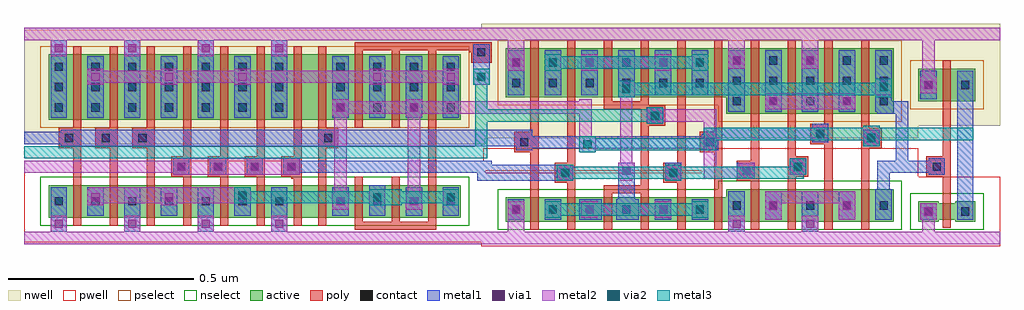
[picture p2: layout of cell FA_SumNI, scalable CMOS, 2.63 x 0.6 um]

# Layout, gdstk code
import gdstk
lib = gdstk.Library(unit=1e-6, precision=1e-11)
def R(c, l, rs):  # rectangles x0, y0, x1, y1
    for r in rs: c.add(gdstk.rectangle(r[:2], r[2:], *l))
def A(c, l, x, y, w, h, nx, ny, dx, dy):  # array of equal rectangles
    R(c, l, [(x+i*dx, y+j*dy, x+i*dx+w, y+j*dy+h) for i in range(nx) for j in range(ny)])
contact = (25, 0)
pwell = (41, 0)
nwell = (42, 0)
active = (43, 0)
pselect = (44, 0)
nselect = (45, 0)
poly = (46, 0)
metal1 = (49, 0)
via1 = (50, 0)
metal2 = (51, 0)
via2 = (61, 0)
metal3 = (62, 0)

fa_sumni = lib.new_cell('FA_SumNI')
A(fa_sumni, contact, 0.011, -0.242, 0.022, 0.022, 6, 2, 0.099, 0.341)
A(fa_sumni, contact, 0.605, -0.231, 0.022, 0.022, 5, 2, 0.099, 0.2805)
A(fa_sumni, contact, -1.221, -0.22, 0.022, 0.022, 7, 2, 0.099, 0.253)
A(fa_sumni, contact, -0.462, -0.22, 0.022, 0.022, 4, 2, 0.099, 0.253)
A(fa_sumni, contact, -0.891, -0.1265, 0.022, 0.022, 4, 1, 0.099, 0)
A(fa_sumni, contact, -1.1935, -0.0495, 0.022, 0.022, 3, 1, 0.099, 0)
A(fa_sumni, contact, -1.221, 0.088, 0.022, 0.022, 7, 2, 0.099, 0.055)
A(fa_sumni, contact, -0.462, 0.088, 0.022, 0.022, 4, 2, 0.099, 0.055)
A(fa_sumni, contact, 0.605, 0.1045, 0.022, 0.022, 5, 2, 0.099, 0.055)
A(fa_sumni, contact, 0.011, 0.154, 0.022, 0.022, 6, 1, 0.099, 0)
R(fa_sumni, contact, [(1.122,-0.2475,1.144,-0.2255), (1.221,-0.2475,1.243,-0.2255), (0.143,-0.143,0.165,-0.121), (0.4345,-0.143,0.4565,-0.121), (0.6325,-0.1375,0.6545,-0.1155), (0.77,-0.1265,0.792,-0.1045), (1.144,-0.1265,1.166,-0.1045), (0.033,-0.0605,0.055,-0.0385), (0.5335,-0.0605,0.5555,-0.0385), (-0.495,-0.0495,-0.473,-0.0275), (0.968,-0.0495,0.99,-0.0275), (0.8305,-0.0385,0.8525,-0.0165), (0.385,0.011,0.407,0.033), (1.122,0.0935,1.144,0.1155), (1.221,0.0935,1.243,0.1155), (-0.0825,0.1815,-0.0605,0.2035)])
A(fa_sumni, pwell, -0.0715, -0.33, 0.187, 0.198, 6, 1, 0.099, 0)
A(fa_sumni, pwell, -0.0385, -0.33, 0.22, 0.198, 6, 1, 0.099, 0)
A(fa_sumni, pwell, 0.5225, -0.33, 0.187, 0.22, 5, 1, 0.099, 0)
A(fa_sumni, pwell, 0.5555, -0.33, 0.22, 0.22, 4, 1, 0.099, 0)
A(fa_sumni, pwell, -1.3035, -0.319, 0.187, 0.22, 7, 1, 0.099, 0)
A(fa_sumni, pwell, -1.2705, -0.319, 0.22, 0.22, 7, 1, 0.099, 0)
A(fa_sumni, pwell, -0.6105, -0.319, 0.22, 0.22, 4, 1, 0.099, 0)
A(fa_sumni, pwell, -0.5445, -0.319, 0.187, 0.22, 4, 1, 0.099, 0)
R(fa_sumni, pwell, [(1.0395,-0.33,1.2265,-0.143), (1.1385,-0.33,1.3255,-0.143), (1.0725,-0.3245,1.2925,-0.1485), (1.1275,-0.3245,1.1412,-0.1485), (1.2237,-0.3245,1.232,-0.1485), (0.022,-0.3135,0.0302,-0.1485), (0.0302,-0.3135,0.2035,-0.1485), (0.1127,-0.3135,0.121,-0.1485), (0.121,-0.3135,0.1292,-0.1485), (0.2117,-0.3135,0.22,-0.1485), (0.22,-0.3135,0.2282,-0.1485), (0.3107,-0.3135,0.319,-0.1485), (0.319,-0.3135,0.3272,-0.1485), (0.4097,-0.3135,0.418,-0.1485), (0.418,-0.3135,0.4262,-0.1485), (0.5087,-0.3135,0.517,-0.1485), (0.517,-0.3135,0.5252,-0.1485), (0.6077,-0.3025,0.616,-0.1375), (0.616,-0.3025,0.6242,-0.1375), (0.7067,-0.3025,0.715,-0.1375), (0.715,-0.3025,0.7232,-0.1375), (0.8057,-0.3025,0.814,-0.1375), (0.814,-0.3025,0.8222,-0.1375), (0.9047,-0.3025,0.913,-0.1375), (0.913,-0.3025,0.9212,-0.1375), (1.0037,-0.3025,1.012,-0.1375), (-1.2925,-0.2805,-1.1192,-0.1155), (-1.1192,-0.2805,-1.111,-0.1155), (-1.111,-0.2805,-1.1027,-0.1155), (-1.0202,-0.2805,-1.012,-0.1155), (-1.012,-0.2805,-1.0037,-0.1155), (-0.9212,-0.2805,-0.913,-0.1155), (-0.913,-0.2805,-0.9047,-0.1155), (-0.8222,-0.2805,-0.814,-0.1155), (-0.814,-0.2805,-0.8057,-0.1155), (-0.7232,-0.2805,-0.715,-0.1155), (-0.715,-0.2805,-0.7067,-0.1155), (-0.6242,-0.2805,-0.616,-0.1155), (-0.616,-0.2805,-0.6077,-0.1155), (-0.5417,-0.2805,-0.5252,-0.1155), (-0.4592,-0.2805,-0.451,-0.1155), (-0.451,-0.2805,-0.4427,-0.1155), (-0.3602,-0.2805,-0.352,-0.1155), (-0.352,-0.2805,-0.3437,-0.1155), (-0.2612,-0.2805,-0.253,-0.1155), (-0.253,-0.2805,-0.2447,-0.1155), (-0.1622,-0.2805,-0.154,-0.1155), (-0.066,-0.1265,1.1055,-0.0935), (-0.066,-0.099,1.1055,-0.066)])
A(fa_sumni, nwell, -1.3035, -0.055, 0.187, 0.308, 7, 1, 0.099, 0)
A(fa_sumni, nwell, -1.2705, -0.055, 0.22, 0.308, 7, 1, 0.099, 0)
A(fa_sumni, nwell, -0.6105, -0.055, 0.22, 0.308, 4, 1, 0.099, 0)
A(fa_sumni, nwell, -0.5445, -0.055, 0.187, 0.308, 4, 1, 0.099, 0)
A(fa_sumni, nwell, 0.5225, -0.0385, 0.187, 0.308, 5, 1, 0.099, 0)
A(fa_sumni, nwell, 0.5555, -0.0385, 0.22, 0.308, 4, 1, 0.099, 0)
A(fa_sumni, nwell, -0.0715, 0.0055, 0.187, 0.264, 6, 1, 0.099, 0)
A(fa_sumni, nwell, -0.0385, 0.0055, 0.22, 0.264, 6, 1, 0.099, 0)
R(fa_sumni, nwell, [(-0.077,-0.0385,0.5225,-0.0165), (0.616,-0.0385,0.6242,0.2695), (0.715,-0.0385,0.7232,0.2695), (0.8057,-0.0385,0.814,0.2695), (0.814,-0.0385,0.8222,0.2695), (0.9047,-0.0385,0.913,0.2695), (0.913,-0.0385,0.9212,0.2695), (1.0037,-0.0385,1.012,0.2695), (-0.0715,-0.0165,0.528,0.0055), (1.0395,-0.0055,1.2265,0.2145), (1.0725,-0.0055,1.2925,0.2145), (1.133,-0.0055,1.1412,0.2145), (1.1385,-0.0055,1.3255,0.2145), (1.2237,-0.0055,1.232,0.2145), (-0.5417,0,-0.5252,0.165), (0.6077,0.0055,0.616,0.2695), (-1.2925,0.0165,-1.1192,0.1815), (-1.2017,0.0165,-1.0285,0.1815), (-1.1935,0.0165,-1.0202,0.1815), (-1.1027,0.0165,-0.9295,0.1815), (-1.0945,0.0165,-0.9212,0.1815), (-1.0037,0.0165,-0.8305,0.1815), (-0.9955,0.0165,-0.8222,0.1815), (-0.9047,0.0165,-0.7315,0.1815), (-0.8965,0.0165,-0.7232,0.1815), (-0.8057,0.0165,-0.6325,0.1815), (-0.7975,0.0165,-0.6242,0.1815), (-0.7067,0.0165,-0.5335,0.1815), (-0.6985,0.0165,-0.5252,0.1815), (-0.4592,0.0165,-0.451,0.1815), (-0.451,0.0165,-0.4427,0.1815), (-0.3602,0.0165,-0.352,0.1815), (-0.352,0.0165,-0.3437,0.1815), (-0.2612,0.0165,-0.253,0.1815), (-0.253,0.0165,-0.2447,0.1815), (-0.1622,0.0165,-0.154,0.1815), (0.7067,0.033,0.715,0.198), (0.022,0.055,0.0302,0.22), (0.1127,0.055,0.121,0.22), (0.121,0.055,0.1292,0.22), (0.22,0.055,0.2282,0.22), (0.3107,0.055,0.319,0.22), (0.319,0.055,0.3272,0.22), (0.4097,0.055,0.418,0.22), (0.418,0.055,0.4262,0.22), (0.5087,0.055,0.517,0.22), (0.517,0.055,0.5252,0.22), (0.2117,0.0605,0.22,0.2255), (1.0615,0.2035,1.3255,0.2695)])
A(fa_sumni, active, -0.0055, -0.264, 0.055, 0.066, 6, 1, 0.099, 0)
A(fa_sumni, active, 0.0275, -0.264, 0.088, 0.066, 6, 1, 0.099, 0)
A(fa_sumni, active, 0.5885, -0.264, 0.055, 0.088, 5, 1, 0.099, 0)
A(fa_sumni, active, 0.6215, -0.264, 0.088, 0.088, 4, 1, 0.099, 0)
A(fa_sumni, active, -1.2375, -0.253, 0.055, 0.088, 7, 1, 0.099, 0)
A(fa_sumni, active, -1.2045, -0.253, 0.088, 0.088, 7, 1, 0.099, 0)
A(fa_sumni, active, -0.5445, -0.253, 0.088, 0.088, 4, 1, 0.099, 0)
A(fa_sumni, active, -0.4785, -0.253, 0.055, 0.088, 4, 1, 0.099, 0)
A(fa_sumni, active, -1.2375, 0.011, 0.055, 0.176, 7, 1, 0.099, 0)
A(fa_sumni, active, -1.2045, 0.011, 0.088, 0.176, 7, 1, 0.099, 0)
A(fa_sumni, active, -0.5445, 0.011, 0.088, 0.176, 4, 1, 0.099, 0)
A(fa_sumni, active, -0.4785, 0.011, 0.055, 0.176, 4, 1, 0.099, 0)
A(fa_sumni, active, 0.5885, 0.0275, 0.055, 0.176, 5, 1, 0.099, 0)
A(fa_sumni, active, 0.6215, 0.0275, 0.088, 0.176, 4, 1, 0.099, 0)
A(fa_sumni, active, -0.0055, 0.0715, 0.055, 0.132, 6, 1, 0.099, 0)
A(fa_sumni, active, 0.0275, 0.0715, 0.088, 0.132, 6, 1, 0.099, 0)
R(fa_sumni, active, [(1.1055,-0.264,1.1605,-0.209), (1.2045,-0.264,1.2595,-0.209), (1.1275,-0.2585,1.1412,-0.2145), (1.1385,-0.2585,1.2265,-0.2145), (1.2237,-0.2585,1.232,-0.2145), (0.022,-0.2475,0.0302,-0.2145), (0.0962,-0.2475,0.1375,-0.2145), (0.1127,-0.2475,0.121,-0.2145), (0.121,-0.2475,0.1292,-0.2145), (0.2117,-0.2475,0.22,-0.2145), (0.22,-0.2475,0.2282,-0.2145), (0.3107,-0.2475,0.319,-0.2145), (0.319,-0.2475,0.3272,-0.2145), (0.4097,-0.2475,0.418,-0.2145), (0.418,-0.2475,0.4262,-0.2145), (0.5087,-0.2475,0.517,-0.2145), (0.517,-0.2475,0.5252,-0.2145), (0.6077,-0.2365,0.616,-0.2035), (0.616,-0.2365,0.6242,-0.2035), (0.7067,-0.2365,0.715,-0.2035), (0.715,-0.2365,0.7232,-0.2035), (0.8057,-0.2365,0.814,-0.2035), (0.814,-0.2365,0.8222,-0.2035), (0.9047,-0.2365,0.913,-0.2035), (0.913,-0.2365,0.9212,-0.2035), (1.0037,-0.2365,1.012,-0.2035), (-1.2265,-0.2145,-1.1852,-0.1815), (-1.1192,-0.2145,-1.111,-0.1815), (-1.111,-0.2145,-1.1027,-0.1815), (-1.0202,-0.2145,-1.012,-0.1815), (-1.012,-0.2145,-1.0037,-0.1815), (-0.9212,-0.2145,-0.913,-0.1815), (-0.913,-0.2145,-0.9047,-0.1815), (-0.8222,-0.2145,-0.814,-0.1815), (-0.814,-0.2145,-0.8057,-0.1815), (-0.7232,-0.2145,-0.715,-0.1815), (-0.715,-0.2145,-0.7067,-0.1815), (-0.6242,-0.2145,-0.616,-0.1815), (-0.616,-0.2145,-0.6077,-0.1815), (-0.5417,-0.2145,-0.5252,-0.1815), (-0.4592,-0.2145,-0.451,-0.1815), (-0.451,-0.2145,-0.4427,-0.1815), (-0.3602,-0.2145,-0.352,-0.1815), (-0.352,-0.2145,-0.3437,-0.1815), (-0.2612,-0.2145,-0.253,-0.1815), (-0.253,-0.2145,-0.2447,-0.1815), (-0.1622,-0.2145,-0.154,-0.1815), (0.616,0.0275,0.6242,0.2035), (0.715,0.0275,0.7232,0.2035), (0.8057,0.0275,0.814,0.2035), (0.814,0.0275,0.8222,0.2035), (0.9047,0.0275,0.913,0.2035), (0.913,0.0275,0.9212,0.2035), (1.0037,0.0275,1.012,0.2035), (1.1055,0.0605,1.1605,0.1485), (1.133,0.0605,1.1412,0.1485), (1.1385,0.0605,1.2265,0.1485), (1.2045,0.0605,1.2595,0.1485), (1.2237,0.0605,1.232,0.1485), (-0.5417,0.066,-0.5252,0.099), (0.6077,0.0715,0.616,0.2035), (-1.2265,0.0825,-1.1852,0.1155), (-1.1357,0.0825,-1.0945,0.1155), (-1.1275,0.0825,-1.0862,0.1155), (-1.0367,0.0825,-0.9955,0.1155), (-1.0285,0.0825,-0.9872,0.1155), (-0.9377,0.0825,-0.8965,0.1155), (-0.9295,0.0825,-0.8882,0.1155), (-0.8387,0.0825,-0.7975,0.1155), (-0.8305,0.0825,-0.7892,0.1155), (-0.7397,0.0825,-0.6985,0.1155), (-0.7315,0.0825,-0.6902,0.1155), (-0.6407,0.0825,-0.5995,0.1155), (-0.6325,0.0825,-0.5912,0.1155), (-0.4592,0.0825,-0.451,0.1155), (-0.451,0.0825,-0.4427,0.1155), (-0.3602,0.0825,-0.352,0.1155), (-0.352,0.0825,-0.3437,0.1155), (-0.2612,0.0825,-0.253,0.1155), (-0.253,0.0825,-0.2447,0.1155), (-0.1622,0.0825,-0.154,0.1155), (0.7067,0.099,0.715,0.132), (0.022,0.121,0.0302,0.154), (0.1127,0.121,0.121,0.154), (0.121,0.121,0.1292,0.154), (0.22,0.121,0.2282,0.154), (0.3107,0.121,0.319,0.154), (0.319,0.121,0.3272,0.154), (0.4097,0.121,0.418,0.154), (0.418,0.121,0.4262,0.154), (0.5087,0.121,0.517,0.154), (0.517,0.121,0.5252,0.154), (0.2117,0.1265,0.22,0.1595)])
A(fa_sumni, pselect, -1.2595, -0.011, 0.099, 0.22, 7, 1, 0.099, 0)
A(fa_sumni, pselect, -1.2265, -0.011, 0.132, 0.22, 7, 1, 0.099, 0)
A(fa_sumni, pselect, -0.5665, -0.011, 0.132, 0.22, 4, 1, 0.099, 0)
A(fa_sumni, pselect, -0.5005, -0.011, 0.099, 0.22, 4, 1, 0.099, 0)
A(fa_sumni, pselect, 0.5665, 0.0055, 0.099, 0.22, 5, 1, 0.099, 0)
A(fa_sumni, pselect, 0.5995, 0.0055, 0.132, 0.22, 4, 1, 0.099, 0)
A(fa_sumni, pselect, -0.0275, 0.0495, 0.099, 0.176, 6, 1, 0.099, 0)
A(fa_sumni, pselect, 0.0055, 0.0495, 0.132, 0.176, 6, 1, 0.099, 0)
R(fa_sumni, pselect, [(0.616,0.0055,0.6242,0.2255), (0.715,0.0055,0.7232,0.2255), (0.8057,0.0055,0.814,0.2255), (0.814,0.0055,0.8222,0.2255), (0.9047,0.0055,0.913,0.2255), (0.913,0.0055,0.9212,0.2255), (1.0037,0.0055,1.012,0.2255), (1.0835,0.0385,1.1825,0.1705), (1.1165,0.0385,1.2485,0.1705), (1.133,0.0385,1.1412,0.1705), (1.1825,0.0385,1.2815,0.1705), (1.2237,0.0385,1.232,0.1705), (-0.5417,0.044,-0.5252,0.121), (0.6077,0.0495,0.616,0.2255), (-1.2485,0.0605,-1.1632,0.1375), (-1.1577,0.0605,-1.0725,0.1375), (-1.1495,0.0605,-1.0642,0.1375), (-1.0587,0.0605,-0.9735,0.1375), (-1.0505,0.0605,-0.9652,0.1375), (-0.9597,0.0605,-0.8745,0.1375), (-0.9515,0.0605,-0.8662,0.1375), (-0.8607,0.0605,-0.7755,0.1375), (-0.8525,0.0605,-0.7672,0.1375), (-0.7617,0.0605,-0.6765,0.1375), (-0.7535,0.0605,-0.6682,0.1375), (-0.6627,0.0605,-0.5775,0.1375), (-0.6545,0.0605,-0.5692,0.1375), (-0.4592,0.0605,-0.451,0.1375), (-0.451,0.0605,-0.4427,0.1375), (-0.3602,0.0605,-0.352,0.1375), (-0.352,0.0605,-0.3437,0.1375), (-0.2612,0.0605,-0.253,0.1375), (-0.253,0.0605,-0.2447,0.1375), (-0.1622,0.0605,-0.154,0.1375), (0.7067,0.077,0.715,0.154), (0.022,0.099,0.0302,0.176), (0.1127,0.099,0.121,0.176), (0.121,0.099,0.1292,0.176), (0.22,0.099,0.2282,0.176), (0.3107,0.099,0.319,0.176), (0.319,0.099,0.3272,0.176), (0.4097,0.099,0.418,0.176), (0.418,0.099,0.4262,0.176), (0.5087,0.099,0.517,0.176), (0.517,0.099,0.5252,0.176), (0.2117,0.1045,0.22,0.1815)])
A(fa_sumni, nselect, -0.0275, -0.286, 0.099, 0.11, 6, 1, 0.099, 0)
A(fa_sumni, nselect, 0.0055, -0.286, 0.132, 0.11, 6, 1, 0.099, 0)
A(fa_sumni, nselect, 0.5665, -0.286, 0.099, 0.132, 5, 1, 0.099, 0)
A(fa_sumni, nselect, 0.5995, -0.286, 0.132, 0.132, 4, 1, 0.099, 0)
A(fa_sumni, nselect, -1.2595, -0.275, 0.099, 0.132, 7, 1, 0.099, 0)
A(fa_sumni, nselect, -1.2265, -0.275, 0.132, 0.132, 7, 1, 0.099, 0)
A(fa_sumni, nselect, -0.5665, -0.275, 0.132, 0.132, 4, 1, 0.099, 0)
A(fa_sumni, nselect, -0.5005, -0.275, 0.099, 0.132, 4, 1, 0.099, 0)
R(fa_sumni, nselect, [(1.0835,-0.286,1.1825,-0.187), (1.1825,-0.286,1.2815,-0.187), (1.1165,-0.2805,1.2485,-0.1925), (1.1275,-0.2805,1.1412,-0.1925), (1.2237,-0.2805,1.232,-0.1925), (0.022,-0.2695,0.0302,-0.1925), (0.0742,-0.2695,0.1595,-0.1925), (0.1127,-0.2695,0.121,-0.1925), (0.121,-0.2695,0.1292,-0.1925), (0.2117,-0.2695,0.22,-0.1925), (0.22,-0.2695,0.2282,-0.1925), (0.3107,-0.2695,0.319,-0.1925), (0.319,-0.2695,0.3272,-0.1925), (0.4097,-0.2695,0.418,-0.1925), (0.418,-0.2695,0.4262,-0.1925), (0.5087,-0.2695,0.517,-0.1925), (0.517,-0.2695,0.5252,-0.1925), (0.6077,-0.2585,0.616,-0.1815), (0.616,-0.2585,0.6242,-0.1815), (0.7067,-0.2585,0.715,-0.1815), (0.715,-0.2585,0.7232,-0.1815), (0.8057,-0.2585,0.814,-0.1815), (0.814,-0.2585,0.8222,-0.1815), (0.9047,-0.2585,0.913,-0.1815), (0.913,-0.2585,0.9212,-0.1815), (1.0037,-0.2585,1.012,-0.1815), (-1.2485,-0.2365,-1.1632,-0.1595), (-1.1192,-0.2365,-1.111,-0.1595), (-1.111,-0.2365,-1.1027,-0.1595), (-1.0202,-0.2365,-1.012,-0.1595), (-1.012,-0.2365,-1.0037,-0.1595), (-0.9212,-0.2365,-0.913,-0.1595), (-0.913,-0.2365,-0.9047,-0.1595), (-0.8222,-0.2365,-0.814,-0.1595), (-0.814,-0.2365,-0.8057,-0.1595), (-0.7232,-0.2365,-0.715,-0.1595), (-0.715,-0.2365,-0.7067,-0.1595), (-0.6242,-0.2365,-0.616,-0.1595), (-0.616,-0.2365,-0.6077,-0.1595), (-0.5417,-0.2365,-0.5252,-0.1595), (-0.4592,-0.2365,-0.451,-0.1595), (-0.451,-0.2365,-0.4427,-0.1595), (-0.3602,-0.2365,-0.352,-0.1595), (-0.352,-0.2365,-0.3437,-0.1595), (-0.2612,-0.2365,-0.253,-0.1595), (-0.253,-0.2365,-0.2447,-0.1595), (-0.1622,-0.2365,-0.154,-0.1595)])
A(fa_sumni, poly, 0.0605, -0.286, 0.022, 0.11, 6, 1, 0.099, 0)
A(fa_sumni, poly, 0.6545, -0.286, 0.022, 0.132, 4, 1, 0.099, 0)
A(fa_sumni, poly, -1.1715, -0.275, 0.022, 0.132, 7, 1, 0.099, 0)
A(fa_sumni, poly, -0.5115, -0.275, 0.022, 0.132, 4, 1, 0.099, 0)
A(fa_sumni, poly, -0.8745, -0.154, 0.022, 0.0495, 3, 1, 0.099, 0)
A(fa_sumni, poly, -0.9075, -0.143, 0.055, 0.055, 4, 1, 0.099, 0)
A(fa_sumni, poly, -0.88, -0.143, 0.0165, 0.055, 3, 1, 0.099, 0)
A(fa_sumni, poly, -0.8745, -0.1265, 0.022, 0.1265, 3, 1, 0.099, 0)
A(fa_sumni, poly, -1.21, -0.066, 0.055, 0.055, 3, 1, 0.099, 0)
A(fa_sumni, poly, -1.1825, -0.066, 0.022, 0.055, 3, 1, 0.099, 0)
A(fa_sumni, poly, -1.1715, -0.0495, 0.022, 0.0495, 3, 1, 0.099, 0)
A(fa_sumni, poly, -1.1715, -0.011, 0.022, 0.22, 7, 1, 0.099, 0)
A(fa_sumni, poly, -0.5115, -0.011, 0.022, 0.22, 4, 1, 0.099, 0)
A(fa_sumni, poly, 0.6545, 0.0055, 0.022, 0.22, 4, 1, 0.099, 0)
A(fa_sumni, poly, 0.0605, 0.0495, 0.022, 0.176, 6, 1, 0.099, 0)
R(fa_sumni, poly, [(-0.4125,-0.286,-0.2915,-0.264), (-0.3135,-0.286,-0.1925,-0.264), (1.1715,-0.2805,1.1935,-0.1925), (1.1715,-0.2035,1.1935,-0.1815), (1.1715,-0.2035,1.1935,-0.1045), (0.0605,-0.187,0.0825,-0.0385), (0.1595,-0.187,0.1815,-0.121), (0.2585,-0.187,0.3795,-0.165), (0.3575,-0.187,0.3795,0.033), (0.4565,-0.187,0.4785,-0.121), (0.5555,-0.187,0.5775,-0.0385), (0.6545,-0.165,0.6765,-0.1155), (0.7535,-0.165,0.7755,-0.1045), (0.8525,-0.165,0.8745,-0.0165), (0.9515,-0.165,0.9735,-0.0275), (0.1265,-0.1595,0.1815,-0.1045), (0.1485,-0.1595,0.1705,-0.1045), (0.418,-0.1595,0.473,-0.1045), (0.4455,-0.1595,0.4675,-0.1045), (-1.1715,-0.154,-1.1495,-0.0275), (-1.0725,-0.154,-1.0505,0), (-0.9735,-0.154,-0.9515,-0.0275), (-0.5775,-0.154,-0.5555,-0.11), (-0.5115,-0.154,-0.4895,-0.0275), (-0.2145,-0.154,-0.1925,0), (0.616,-0.154,0.671,-0.099), (0.6435,-0.154,0.6655,-0.099), (-0.583,-0.1485,-0.5665,-0.0935), (0.1595,-0.143,0.1815,0.0605), (0.4565,-0.143,0.4785,0.0605), (0.7535,-0.143,0.8085,-0.088), (0.7645,-0.143,0.781,-0.088), (1.1275,-0.143,1.1825,-0.088), (0.6545,-0.1375,0.6765,0.0165), (-0.5775,-0.132,-0.5555,0), (0.7535,-0.1265,0.7755,0.0165), (1.144,-0.1265,1.1935,-0.1045), (1.1715,-0.1265,1.1935,0.0495), (0.0165,-0.077,0.0715,-0.022), (0.0385,-0.077,0.0715,-0.022), (0.517,-0.077,0.572,-0.022), (0.5445,-0.077,0.5665,-0.022), (-0.5115,-0.066,-0.4565,-0.011), (-0.5005,-0.066,-0.4785,-0.011), (0.9515,-0.066,1.0065,-0.011), (0.9625,-0.066,0.979,-0.011), (0.0605,-0.0605,0.0825,0.0605), (0.5555,-0.0605,0.5775,0.0605), (0.814,-0.055,0.869,0), (0.8415,-0.055,0.8635,0), (-0.5115,-0.0495,-0.4895,0), (0.9515,-0.0495,0.9735,0.0165), (0.8525,-0.0385,0.8745,0.0165), (0.3685,-0.0055,0.4235,0.0495), (0.3685,-0.0055,0.396,0.0495), (0.3575,0.011,0.3795,0.0605), (0.2585,0.0385,0.3795,0.0605), (1.1715,0.0385,1.1935,0.1705), (-0.099,0.165,-0.044,0.22), (-0.0935,0.165,-0.0715,0.22), (-0.1045,0.1925,-0.0825,0.209), (-0.4125,0.198,-0.2915,0.22), (-0.3135,0.198,-0.1925,0.22), (-0.2145,0.198,-0.0825,0.22)])
A(fa_sumni, metal1, -1.232, -0.2915, 0.044, 0.044, 4, 2, 0.198, 0.473)
A(fa_sumni, metal1, -1.232, -0.2915, 0.044, 0.11, 4, 1, 0.198, 0)
A(fa_sumni, metal1, 0, -0.2585, 0.044, 0.055, 6, 1, 0.099, 0)
A(fa_sumni, metal1, 0.693, -0.2585, 0.044, 0.077, 3, 1, 0.099, 0)
A(fa_sumni, metal1, -1.232, -0.2475, 0.044, 0.077, 7, 1, 0.099, 0)
A(fa_sumni, metal1, -0.473, -0.2475, 0.044, 0.077, 4, 1, 0.099, 0)
A(fa_sumni, metal1, -1.2045, -0.0605, 0.044, 0.044, 3, 1, 0.099, 0)
A(fa_sumni, metal1, -1.232, 0.0165, 0.044, 0.165, 7, 1, 0.099, 0)
A(fa_sumni, metal1, -0.473, 0.0165, 0.044, 0.165, 4, 1, 0.099, 0)
A(fa_sumni, metal1, 0.594, 0.033, 0.044, 0.165, 5, 1, 0.099, 0)
A(fa_sumni, metal1, -1.232, 0.077, 0.044, 0.1485, 4, 1, 0.198, 0)
A(fa_sumni, metal1, -1.133, 0.077, 0.044, 0.0715, 3, 1, 0.198, 0)
A(fa_sumni, metal1, 0, 0.077, 0.044, 0.121, 6, 1, 0.099, 0)
A(fa_sumni, metal1, 0.594, 0.0935, 0.044, 0.099, 3, 1, 0.198, 0)
A(fa_sumni, metal1, -1.133, 0.1045, 0.044, 0.044, 3, 1, 0.198, 0)
A(fa_sumni, metal1, 0, 0.143, 0.044, 0.044, 3, 1, 0.099, 0)
R(fa_sumni, metal1, [(0.594,-0.2915,0.638,-0.2475), (0.594,-0.2915,0.638,-0.198), (0.792,-0.2915,0.836,-0.2475), (0.792,-0.2805,0.836,-0.198), (0.1925,-0.2585,0.253,-0.2035), (0.2915,-0.2585,0.352,-0.2035), (0.594,-0.2585,0.638,-0.1815), (0.693,-0.2585,0.737,-0.1815), (0.891,-0.2585,0.935,-0.1815), (0.99,-0.2585,1.034,-0.1815), (1.111,-0.2585,1.155,-0.2145), (1.111,-0.2585,1.155,-0.2145), (1.111,-0.2585,1.155,-0.2145), (1.21,-0.2585,1.254,-0.2145), (1.21,-0.2585,1.254,-0.0385), (0,-0.253,0.044,-0.209), (0,-0.253,0.044,-0.209), (0.099,-0.253,0.143,-0.209), (0.099,-0.253,0.143,-0.209), (0.198,-0.253,0.242,-0.209), (0.2035,-0.253,0.2475,-0.209), (0.297,-0.253,0.341,-0.1155), (0.396,-0.253,0.44,-0.209), (0.396,-0.253,0.44,-0.209), (0.495,-0.253,0.539,-0.209), (0.495,-0.253,0.539,-0.209), (0.99,-0.242,1.034,-0.176), (-1.133,-0.231,-1.089,-0.176), (-0.935,-0.231,-0.891,-0.176), (-0.737,-0.231,-0.693,-0.1705), (-0.473,-0.231,-0.429,-0.187), (-0.473,-0.231,-0.429,-0.187), (-0.374,-0.231,-0.33,-0.165), (-0.275,-0.231,-0.231,-0.187), (-0.275,-0.231,-0.231,-0.187), (-0.176,-0.231,-0.132,-0.176), (-1.133,-0.22,-1.089,-0.176), (-0.935,-0.22,-0.891,-0.176), (-0.374,-0.22,-0.33,-0.176), (-0.176,-0.22,-0.132,-0.176), (-0.737,-0.2145,-0.693,-0.1705), (0.9955,-0.2145,1.0285,-0.099), (-0.0825,-0.154,0.176,-0.11), (-0.077,-0.154,-0.044,-0.1155), (0.132,-0.154,0.176,-0.11), (0.132,-0.154,0.176,-0.11), (0.132,-0.154,0.176,-0.11), (0.132,-0.154,0.176,-0.11), (0.4235,-0.154,0.4675,-0.11), (0.4235,-0.154,0.4675,-0.11), (0.4235,-0.154,0.4675,-0.1045), (0.1375,-0.1485,0.1705,-0.1155), (0.297,-0.1485,0.341,-0.1045), (0.616,-0.1485,0.6655,-0.1045), (0.6215,-0.1485,0.6655,-0.1045), (0.6215,-0.1485,0.6655,-0.1045), (-0.902,-0.1375,-0.858,-0.0935), (-0.902,-0.1375,-0.858,-0.0935), (-0.902,-0.1375,-0.858,-0.0935), (-0.902,-0.1375,-0.858,-0.0935), (-0.803,-0.1375,-0.759,-0.0935), (-0.803,-0.1375,-0.759,-0.0935), (-0.803,-0.1375,-0.759,-0.0935), (-0.803,-0.1375,-0.759,-0.0935), (-0.704,-0.1375,-0.66,-0.0935), (-0.704,-0.1375,-0.66,-0.0935), (-0.704,-0.1375,-0.66,-0.0935), (-0.605,-0.1375,-0.561,-0.0935), (-0.605,-0.1375,-0.561,-0.0935), (-0.605,-0.1375,-0.561,-0.0935), (-0.077,-0.1375,-0.044,-0.1155), (-0.077,-0.1375,-0.044,-0.132), (0.759,-0.1375,0.803,-0.0935), (0.759,-0.1375,0.803,-0.0935), (0.759,-0.1375,0.803,-0.0935), (0.759,-0.1375,0.803,-0.0935), (1.133,-0.1375,1.177,-0.0935), (-0.8965,-0.132,-0.8635,-0.099), (-0.7975,-0.132,-0.7645,-0.099), (-0.5995,-0.132,-0.33,-0.099), (-0.363,-0.132,-0.044,-0.099), (0.7645,-0.132,0.7975,-0.099), (0.9955,-0.132,1.078,-0.099), (1.045,-0.132,1.078,0.0605), (1.045,-0.132,1.1715,-0.099), (1.21,-0.0825,1.254,0.1265), (1.2155,-0.077,1.254,-0.044), (0.022,-0.0715,0.066,-0.0165), (0.022,-0.0715,0.066,-0.0275), (0.5225,-0.0715,0.5665,-0.0275), (0.0275,-0.066,0.3575,-0.033), (0.3245,-0.066,0.561,-0.033), (0.528,-0.066,0.561,-0.011), (-1.2045,-0.0605,-1.0615,-0.0165), (-1.1055,-0.0605,-0.9625,-0.0165), (-1.0065,-0.0605,-0.462,-0.0165), (-0.506,-0.0605,-0.462,-0.0165), (-0.506,-0.0605,-0.0825,-0.0165), (-0.1265,-0.0605,0.066,-0.0165), (0.957,-0.0605,1.001,-0.0165), (0.957,-0.0605,1.001,-0.0165), (0.957,-0.0605,1.001,-0.0165), (0.957,-0.0605,1.001,-0.0165), (-1.3035,-0.055,-1.166,-0.022), (0.9625,-0.055,0.9955,-0.022), (0.8195,-0.0495,0.8635,-0.0055), (0.8195,-0.0495,0.8635,0), (0.528,-0.044,0.858,-0.011), (0.374,0,0.418,0.044), (0.374,0,0.418,0.044), (0.374,0,0.418,0.044), (0.3795,0.0055,0.4125,0.0385), (0.3795,0.0055,0.4125,0.0385), (-0.473,0.022,-0.429,0.066), (-0.473,0.022,-0.429,0.121), (-0.275,0.022,-0.231,0.066), (-0.275,0.022,-0.231,0.121), (0.9955,0.0275,1.0285,0.132), (0.9955,0.0275,1.078,0.0605), (0.99,0.033,1.034,0.1375), (0.693,0.0385,0.737,0.0825), (0.693,0.0385,0.737,0.1375), (0.891,0.0385,0.935,0.0825), (0.891,0.0385,0.935,0.1375), (0.99,0.0385,1.034,0.1375), (1.111,0.066,1.155,0.143), (1.21,0.066,1.254,0.143), (0.297,0.0715,0.341,0.1155), (0.297,0.0715,0.341,0.1595), (-0.374,0.077,-0.33,0.1485), (-0.176,0.077,-0.132,0.143), (0.99,0.077,1.034,0.121), (1.111,0.077,1.155,0.121), (0.9955,0.0825,1.0285,0.1155), (1.111,0.0825,1.155,0.1265), (-0.374,0.1045,-0.33,0.1485), (-0.176,0.1045,-0.132,0.1485), (-0.0935,0.1045,-0.0495,0.1485), (-0.0935,0.1045,-0.0495,0.2145), (0,0.1155,0.044,0.187), (0.198,0.1155,0.242,0.187), (0.1045,0.121,0.1375,0.1815), (0.4015,0.121,0.4345,0.1815), (0.5005,0.121,0.5335,0.1815), (0.396,0.143,0.44,0.187), (0.495,0.143,0.539,0.187), (0.594,0.1485,0.638,0.1925), (0.792,0.1485,0.836,0.1925), (-0.0935,0.1705,-0.0495,0.2145)])
A(fa_sumni, via1, -1.221, -0.2805, 0.022, 0.022, 4, 2, 0.198, 0.473)
A(fa_sumni, via1, 0.011, -0.242, 0.022, 0.022, 3, 2, 0.099, 0.396)
A(fa_sumni, via1, -0.792, -0.1265, 0.022, 0.022, 3, 1, 0.099, 0)
A(fa_sumni, via1, -1.122, 0.1155, 0.022, 0.022, 3, 1, 0.198, 0)
R(fa_sumni, via1, [(0.605,-0.2805,0.627,-0.2585), (0.803,-0.2805,0.825,-0.2585), (1.122,-0.2475,1.144,-0.2255), (0.407,-0.242,0.429,-0.22), (0.506,-0.242,0.528,-0.22), (0.704,-0.231,0.726,-0.209), (0.902,-0.231,0.924,-0.209), (-0.462,-0.22,-0.44,-0.198), (-0.264,-0.22,-0.242,-0.198), (-1.122,-0.209,-1.1,-0.187), (-0.924,-0.209,-0.902,-0.187), (-0.363,-0.209,-0.341,-0.187), (-0.165,-0.209,-0.143,-0.187), (-0.726,-0.2035,-0.704,-0.1815), (0.143,-0.143,0.165,-0.121), (0.143,-0.143,0.165,-0.121), (0.4345,-0.143,0.4565,-0.121), (0.308,-0.1375,0.33,-0.1155), (0.6325,-0.1375,0.6545,-0.1155), (-0.891,-0.1265,-0.869,-0.1045), (-0.891,-0.1265,-0.869,-0.1045), (-0.792,-0.1265,-0.77,-0.1045), (0.77,-0.1265,0.792,-0.1045), (0.77,-0.1265,0.792,-0.1045), (0.968,-0.0495,0.99,-0.0275), (0.968,-0.0495,0.99,-0.0275), (0.385,0.011,0.407,0.033), (0.385,0.011,0.407,0.033), (-0.462,0.033,-0.44,0.055), (-0.264,0.033,-0.242,0.055), (0.704,0.0495,0.726,0.0715), (0.902,0.0495,0.924,0.0715), (0.308,0.0825,0.33,0.1045), (1.001,0.088,1.023,0.11), (1.122,0.0935,1.144,0.1155), (-0.363,0.1155,-0.341,0.1375), (-0.165,0.1155,-0.143,0.1375), (-0.0825,0.1155,-0.0605,0.1375), (0.407,0.154,0.429,0.176), (0.506,0.154,0.528,0.176), (0.605,0.1595,0.627,0.1815), (0.803,0.1595,0.825,0.1815)])
A(fa_sumni, metal2, -1.2265, -0.3245, 0.231, 0.033, 3, 2, 0.198, 0.55)
A(fa_sumni, metal2, -1.232, -0.308, 0.044, 0.0385, 4, 2, 0.198, 0.5115)
A(fa_sumni, metal2, -1.232, -0.2915, 0.044, 0.044, 4, 2, 0.198, 0.473)
A(fa_sumni, metal2, -0.902, -0.1375, 0.143, 0.044, 3, 1, 0.099, 0)
A(fa_sumni, metal2, -0.803, -0.1375, 0.044, 0.044, 3, 1, 0.099, 0)
A(fa_sumni, metal2, -1.133, 0.1045, 0.044, 0.044, 3, 1, 0.198, 0)
A(fa_sumni, metal2, -1.1275, 0.11, 0.132, 0.033, 4, 1, 0.099, 0)
R(fa_sumni, metal2, [(-1.3035,-0.3245,-1.1935,-0.2915), (-0.6325,-0.3245,-0.4345,-0.2915), (-0.4675,-0.3245,-0.0605,-0.2915), (-0.0935,-0.3245,-0.0275,-0.2915), (-0.077,-0.3245,0.0275,-0.2915), (-0.0605,-0.3245,0.0275,-0.2915), (-0.0055,-0.3245,0.0385,-0.2915), (0.0055,-0.3245,0.6325,-0.2915), (0.5995,-0.3245,0.8305,-0.2915), (0.7975,-0.3245,1.111,-0.2915), (1.078,-0.3245,1.1495,-0.2915), (1.1165,-0.3245,1.3255,-0.2915), (0,-0.308,0.044,-0.231), (0.594,-0.308,0.638,-0.2695), (0.792,-0.308,0.836,-0.2585), (1.1165,-0.308,1.1495,-0.2365), (0.594,-0.2915,0.638,-0.2475), (0.792,-0.2915,0.836,-0.2475), (0.693,-0.2585,0.737,-0.1815), (0.891,-0.2585,0.935,-0.1815), (1.111,-0.2585,1.155,-0.2145), (0,-0.253,0.044,-0.209), (0.099,-0.253,0.143,-0.209), (0.099,-0.253,0.143,-0.209), (0.099,-0.253,0.143,-0.209), (0.198,-0.253,0.242,-0.209), (0.396,-0.253,0.44,-0.209), (0.495,-0.253,0.539,-0.209), (0.495,-0.253,0.539,-0.209), (0.495,-0.253,0.539,-0.209), (0.2035,-0.2475,0.286,-0.2145), (0.253,-0.2475,0.4345,-0.2145), (0.6985,-0.2365,0.7315,-0.1815), (0.8965,-0.2365,0.9295,-0.1815), (-0.473,-0.231,-0.429,-0.187), (-0.275,-0.231,-0.231,-0.187), (-0.4675,-0.2255,-0.4345,-0.0935), (-0.2695,-0.2255,-0.2365,0.0605), (-1.133,-0.22,-1.089,-0.176), (-0.935,-0.22,-0.891,-0.176), (-0.374,-0.22,-0.33,-0.176), (-0.374,-0.22,-0.33,-0.176), (-0.374,-0.22,-0.33,-0.176), (-0.176,-0.22,-0.132,-0.176), (-0.176,-0.22,-0.132,-0.176), (-1.1275,-0.2145,-0.8855,-0.1705), (-1.045,-0.2145,-0.891,-0.1705), (-0.935,-0.2145,-0.748,-0.1705), (-0.792,-0.2145,-0.693,-0.1705), (-0.737,-0.2145,-0.693,-0.1705), (-0.737,-0.2145,-0.693,-0.1705), (-0.737,-0.2145,-0.693,-0.1705), (-0.1705,-0.2145,-0.1375,-0.1815), (0.6985,-0.2145,0.9295,-0.1815), (0.803,-0.2145,0.9295,-0.1815), (-1.0395,-0.209,-1.0065,-0.176), (0.132,-0.154,0.176,-0.11), (0.132,-0.154,0.176,-0.11), (0.132,-0.154,0.176,-0.11), (0.132,-0.154,0.176,-0.11), (0.3025,-0.154,0.3355,-0.033), (0.4235,-0.154,0.4675,-0.11), (0.4235,-0.154,0.4675,-0.11), (0.4235,-0.154,0.4675,-0.11), (0.297,-0.1485,0.341,-0.1045), (0.429,-0.1485,0.462,-0.1155), (0.429,-0.1485,0.462,-0.1155), (0.528,-0.1485,0.561,0.0385), (0.528,-0.1485,0.6545,-0.1155), (0.6215,-0.1485,0.6655,-0.1045), (0.6215,-0.1485,0.6545,-0.11), (-0.902,-0.1375,-0.858,-0.0935), (-0.902,-0.1375,-0.858,-0.0935), (-0.803,-0.1375,-0.759,-0.0935), (0.759,-0.1375,0.803,-0.0935), (0.759,-0.1375,0.803,-0.0935), (0.759,-0.1375,0.803,-0.0935), (0.759,-0.1375,0.803,-0.0935), (-1.3035,-0.132,-0.8635,-0.099), (-0.4675,-0.1265,-0.4345,0.0605), (0.1925,-0.077,0.2365,-0.033), (0.1925,-0.0715,0.2365,-0.0385), (0.3025,-0.066,0.3355,0.11), (0.957,-0.0605,1.001,-0.0165), (0.957,-0.0605,1.001,-0.0165), (0.957,-0.0605,1.001,-0.0165), (0.957,-0.0605,1.001,-0.0165), (0.1925,-0.055,0.2255,0.0495), (0.374,0,0.418,0.044), (0.374,0,0.418,0.044), (0.374,0,0.418,0.044), (0.3795,0.0055,0.528,0.0385), (0.3795,0.0055,0.4125,0.0385), (0.495,0.0055,0.561,0.0385), (-0.473,0.022,-0.429,0.066), (-0.275,0.022,-0.231,0.066), (-0.4675,0.0275,-0.385,0.0605), (-0.418,0.0275,-0.2365,0.0605), (-0.253,0.0275,0.209,0.0605), (0.1925,0.0275,0.2255,0.066), (0.693,0.0385,0.737,0.0825), (0.693,0.0385,0.737,0.0825), (0.693,0.0385,0.935,0.0825), (0.891,0.0385,0.935,0.0825), (0.891,0.0385,0.935,0.0825), (0.297,0.0715,0.341,0.1155), (0.297,0.0715,0.341,0.1155), (0.297,0.0715,0.341,0.1155), (0.99,0.077,1.034,0.121), (0.99,0.077,1.034,0.121), (0.99,0.077,1.034,0.121), (1.111,0.0825,1.155,0.1265), (-0.374,0.1045,-0.33,0.1485), (-0.176,0.1045,-0.132,0.1485), (-0.0935,0.1045,-0.0495,0.1485), (-0.0935,0.1045,-0.0495,0.1485), (-0.0935,0.1045,-0.0495,0.1485), (1.1165,0.1045,1.1495,0.242), (-0.7315,0.11,-0.5225,0.143), (-0.5555,0.11,-0.3355,0.143), (-0.3685,0.11,-0.2365,0.143), (-0.2695,0.11,-0.1375,0.143), (0,0.143,0.044,0.187), (0.099,0.143,0.143,0.187), (0.099,0.143,0.143,0.187), (0.198,0.143,0.242,0.187), (0.396,0.143,0.44,0.187), (0.495,0.143,0.539,0.187), (0.495,0.143,0.539,0.187), (0.1045,0.1485,0.1375,0.1815), (0.198,0.1485,0.4345,0.1815), (0.198,0.1485,0.2365,0.1815), (0.5005,0.1485,0.5335,0.1815), (0.594,0.1485,0.638,0.1925), (0.792,0.1485,0.836,0.1925), (0,0.165,0.044,0.242), (0.594,0.1705,0.638,0.242), (0.792,0.1705,0.836,0.242), (-1.3035,0.2255,-1.1935,0.2585), (-0.6325,0.2255,-0.528,0.2585), (-0.561,0.2255,-0.044,0.2585), (-0.077,0.2255,0.0055,0.2585), (-0.0495,0.2255,0.0055,0.2585), (-0.0495,0.2255,0.0385,0.2585), (0.0055,0.2255,0.6325,0.2585), (0.5995,0.2255,0.8305,0.2585), (0.7975,0.2255,1.1055,0.2585), (1.0725,0.2255,1.1495,0.2585), (1.1165,0.2255,1.3255,0.2585)])
R(fa_sumni, via2, [(0.11,-0.242,0.132,-0.22), (0.506,-0.242,0.528,-0.22), (-0.363,-0.209,-0.341,-0.187), (-0.165,-0.209,-0.143,-0.187), (-0.726,-0.2035,-0.704,-0.1815), (0.143,-0.143,0.165,-0.121), (0.4345,-0.143,0.4565,-0.121), (0.4345,-0.143,0.4565,-0.121), (0.77,-0.1265,0.792,-0.1045), (0.2035,-0.066,0.2255,-0.044), (0.968,-0.0495,0.99,-0.0275), (0.385,0.011,0.407,0.033), (0.308,0.0825,0.33,0.1045), (1.001,0.088,1.023,0.11), (-0.0825,0.1155,-0.0605,0.1375), (0.11,0.154,0.132,0.176), (0.506,0.154,0.528,0.176)])
R(fa_sumni, metal3, [(0.099,-0.253,0.143,-0.209), (0.495,-0.253,0.539,-0.209), (0.1045,-0.2475,0.187,-0.2145), (0.154,-0.2475,0.5335,-0.2145), (-0.374,-0.22,-0.33,-0.176), (-0.374,-0.22,-0.33,-0.176), (-0.374,-0.22,-0.286,-0.176), (-0.176,-0.22,-0.132,-0.176), (-0.737,-0.2145,-0.693,-0.1705), (-0.7315,-0.2145,-0.3355,-0.1815), (-0.3245,-0.2145,-0.1375,-0.1815), (-0.3245,-0.2145,-0.2915,-0.1815), (0.132,-0.154,0.176,-0.11), (0.4235,-0.154,0.4675,-0.11), (0.4235,-0.154,0.4675,-0.11), (0.1375,-0.1485,0.2365,-0.1155), (0.2035,-0.1485,0.462,-0.1155), (0.429,-0.1485,0.6435,-0.1155), (0.6105,-0.1485,0.7975,-0.1155), (0.759,-0.1375,0.803,-0.0935), (0.759,-0.132,0.803,-0.1155), (-1.3035,-0.0935,-0.055,-0.0605), (-0.088,-0.0935,-0.055,0.0385), (0.1925,-0.077,0.2365,-0.033), (0.198,-0.0715,0.4235,-0.0385), (0.3905,-0.0715,0.561,-0.0385), (0.528,-0.0715,0.561,-0.011), (0.957,-0.0605,1.001,-0.0165), (0.957,-0.0605,1.001,-0.0055), (0.528,-0.044,0.9075,-0.011), (0.8745,-0.044,0.9955,-0.011), (0.9625,-0.044,1.254,-0.011), (0.374,0,0.418,0.044), (-0.088,0.0055,0.3685,0.0385), (-0.088,0.0055,-0.055,0.0385), (-0.088,0.0055,-0.055,0.143), (0.3355,0.0055,0.4125,0.0385), (0.297,0.0715,0.341,0.1155), (0.99,0.0715,1.034,0.121), (0.3025,0.077,0.649,0.11), (0.616,0.077,1.0285,0.11), (0.99,0.077,1.034,0.121), (-0.0935,0.1045,-0.0495,0.1485), (0.099,0.143,0.143,0.187), (0.495,0.143,0.539,0.187), (0.1045,0.1485,0.5335,0.1815)])

lib.write_gds('FA_SumNI.gds')
